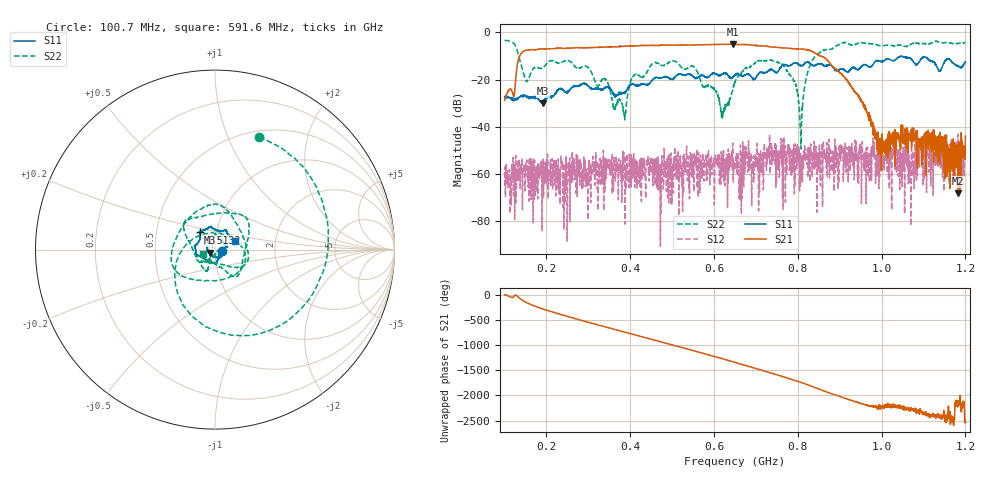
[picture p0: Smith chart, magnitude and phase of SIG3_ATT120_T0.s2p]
# Hz S DB R 50
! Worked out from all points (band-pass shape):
!   1601 points, 100 MHz to 1.2 GHz, reference 50 ohm
!   highest |S21| = -4.97 dB at 645.9 MHz (marker M1); lowest = -68.5 dB at 1.182 GHz (marker M2)
!   |S21| within 3 dB of the highest: 145.2 MHz to 832.2 MHz (687 MHz wide, 141 % of centre); 832.2111 MHz to 833.7927 MHz (1.582 MHz wide, 0.19 % of centre)
!   lowest |S11| = -30.1 dB at 192.1 MHz (marker M3), VSWR 1.06, Z = 47.4 - j1.58 ohm
!   |S11| at or under -10 dB: start of sweep to end of sweep
!   |S22| runs from -49.5 to -3.4 dB; largest |S21 - S12| = 0.56
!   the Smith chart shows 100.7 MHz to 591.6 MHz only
!   S11 on the Smith chart (normalised r, x): 100.7 MHz: 1.08, -0.01; 513.2 MHz: 0.83, +0.16; 591.6 MHz: 1.25, +0.12
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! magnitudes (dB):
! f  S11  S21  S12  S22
! 100 MHz  -27.2  -28.9  -65.2  -3.4
! 100.7 MHz  -27.9  -28.7  -57.2  -3.4
! 152.2 MHz  -27.4  -7.6  -56.3  -20.9
! 192.1 MHz  -30.1  -7.0  -58.0  -15.0
! 244.4 MHz  -25.3  -6.8  -63.5  -12.1
! 283.6 MHz  -22.2  -6.5  -61.5  -14.8
! 385.3 MHz  -25.9  -5.9  -54.4  -35.0
! 407.3 MHz  -21.7  -5.8  -61.0  -18.5
! 467.1 MHz  -19.4  -5.5  -60.8  -13.2
! 513.2 MHz  -17.8  -5.4  -58.0  -13.0
! 591.6 MHz  -18.1  -5.1  -57.9  -22.9
! 620.4 MHz  -17.7  -5.1  -57.5  -35.9
! 645.9 MHz  -18.8  -5.0  -63.6  -23.0
! 650 MHz  -18.3  -5.1  -55.4  -20.9
! 757.9 MHz  -15.2  -6.5  -52.1  -13.0
! 792.3 MHz  -12.9  -7.0  -63.2  -20.8
! 806.8 MHz  -14.3  -7.0  -51.5  -44.1
! 833.6 MHz  -13.8  -7.9  -52.1  -12.1
! 1.017 GHz  -11.5  -42.1  -57.3  -5.3
! 1.115 GHz  -12.1  -43.7  -48.4  -4.7
! 1.182 GHz  -14.4  -68.5  -43.2  -4.6
! 1.2 GHz  -12.5  -44.1  -47.7  -4.3
